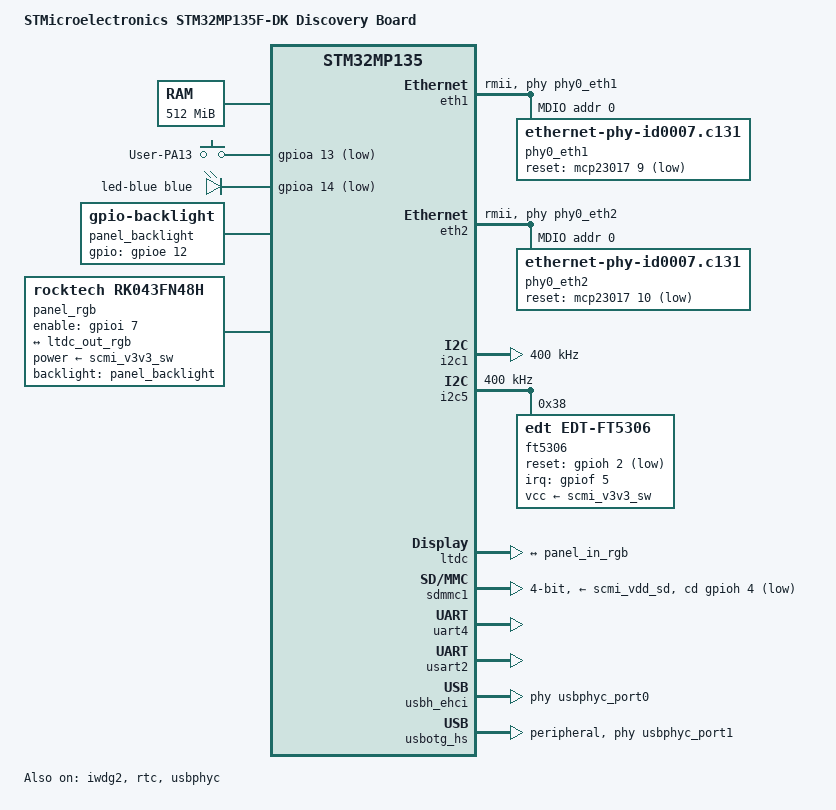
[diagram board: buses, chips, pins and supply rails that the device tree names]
// SPDX-License-Identifier: (GPL-2.0+ OR BSD-3-Clause)
/*
 * Copyright (C) STMicroelectronics 2021 - All Rights Reserved
 * Author: Alexandre Torgue <alexandre.torgue@foss.st.com> for STMicroelectronics.
 */

/dts-v1/;

#include <dt-bindings/gpio/gpio.h>
#include <dt-bindings/input/input.h>
#include <dt-bindings/leds/common.h>
#include <dt-bindings/rtc/rtc-stm32.h>
#include "stm32mp135.dtsi"
#include "stm32mp13xf.dtsi"
#include "stm32mp13-pinctrl.dtsi"

/ {
	model = "STMicroelectronics STM32MP135F-DK Discovery Board";
	compatible = "st,stm32mp135f-dk", "st,stm32mp135";

	aliases {
		ethernet0 = &eth1;
		ethernet1 = &eth2;
		serial0 = &uart4;
		serial1 = &usart1;
		serial2 = &uart8;
		serial3 = &usart2;
	};

	chosen {
		stdout-path = "serial0:115200n8";
	};

	memory@c0000000 {
		device_type = "memory";
		reg = <0xc0000000 0x20000000>;
	};

	gpio-keys {
		compatible = "gpio-keys";

		user-pa13 {
			label = "User-PA13";
			linux,code = <BTN_1>;
			gpios = <&gpioa 13 (GPIO_ACTIVE_LOW | GPIO_PULL_UP)>;
			wakeup-source;
		};
	};

	leds {
		compatible = "gpio-leds";

		led-blue {
			function = LED_FUNCTION_HEARTBEAT;
			color = <LED_COLOR_ID_BLUE>;
			gpios = <&gpioa 14 GPIO_ACTIVE_LOW>;
			linux,default-trigger = "heartbeat";
			default-state = "off";
		};
	};

	panel_backlight: panel-backlight {
		compatible = "gpio-backlight";
		gpios = <&gpioe 12 GPIO_ACTIVE_HIGH>;
		default-on;
		default-brightness-level = <0>;
		status = "okay";
	};

	panel_rgb: panel-rgb {
		compatible = "rocktech,rk043fn48h";
		enable-gpios = <&gpioi 7 GPIO_ACTIVE_HIGH>;
		backlight = <&panel_backlight>;
		power-supply = <&scmi_v3v3_sw>;
		status = "okay";
		port {
			panel_in_rgb: endpoint {
				remote-endpoint = <&ltdc_out_rgb>;
			};
		};
	};

	usb_phy_tuning: usb-phy-tuning {
		st,current-boost = <1>;
		st,hs-slew-ctrl;
		st,hs-dc-level = <2>;
		st,hs-rftime-reduction;
		st,hs-current-trim = <11>;
		st,hs-impedance-trim = <2>;
		st,squelch-level = <1>;
		st,hs-rx-gain-eq;
		st,no-hs-ftime-ctrl;
		st,no-lsfs-sc;
	};
};

&adc_1 {
	pinctrl-names = "default";
	pinctrl-0 = <&adc1_usb_cc_pins_a>;
	vdda-supply = <&scmi_vdd_adc>;
	vref-supply = <&scmi_vdd_adc>;
	status = "disabled";
	adc1: adc@0 {
		/*
		 * Type-C USB_PWR_CC1 & USB_PWR_CC2 on in6 & in12.
		 * Use at least 5 * RC time, e.g. 5 * (Rp + Rd) * C:
		 * 5 * (5.1 + 47kOhms) * 5pF => 1.3us.
		 * Use arbitrary margin here (e.g. 5us).
		 */
		st,min-sample-time-nsecs = <5000>;
		/* USB Type-C CC1 & CC2 */
		st,adc-channels = <6 12>;
		status = "okay";
	};
};

&dma1 {
	sram = <&dma_pool>;
};

&dma2 {
	sram = <&dma_pool>;
};

&eth1 {
	status = "okay";
	pinctrl-0 = <&eth1_rmii_pins_a>;
	pinctrl-names = "default";
	phy-mode = "rmii";
	max-speed = <100>;
	phy-handle = <&phy0_eth1>;
	nvmem-cells = <&ethernet_mac1_address>;
	nvmem-cell-names = "mac-address";

	mdio1 {
		#address-cells = <1>;
		#size-cells = <0>;
		compatible = "snps,dwmac-mdio";

		phy0_eth1: ethernet-phy@0 {
			compatible = "ethernet-phy-id0007.c131";
			reset-gpios =  <&mcp23017 9 GPIO_ACTIVE_LOW>;
			reg = <0>;
		};
	};
};

&eth2 {
	status = "okay";
	pinctrl-0 = <&eth2_rmii_pins_a>;
	pinctrl-names = "default";
	phy-mode = "rmii";
	max-speed = <100>;
	phy-handle = <&phy0_eth2>;
	st,ext-phyclk;
	nvmem-cells = <&ethernet_mac2_address>;
	nvmem-cell-names = "mac-address";

	mdio1 {
		#address-cells = <1>;
		#size-cells = <0>;
		compatible = "snps,dwmac-mdio";
		phy0_eth2: ethernet-phy@0 {
			compatible = "ethernet-phy-id0007.c131";
			reset-gpios = <&mcp23017 10 GPIO_ACTIVE_LOW>;
			reg = <0>;
		};
	};
};

&i2c1 {
	pinctrl-names = "default", "sleep";
	pinctrl-0 = <&i2c1_pins_a>;
	pinctrl-1 = <&i2c1_sleep_pins_a>;
	i2c-scl-rising-time-ns = <300>;
	i2c-scl-falling-time-ns = <300>;
	clock-frequency = <400000>;
	status = "okay";
	/* spare dmas for other usage */
	/delete-property/dmas;
	/delete-property/dma-names;

	mcp23017: pinctrl@21 {
		compatible = "microchip,mcp23017";
		reg = <0x21>;
		gpio-controller;
		#gpio-cells = <2>;
		interrupts = <12 IRQ_TYPE_LEVEL_LOW>;
		interrupt-parent = <&gpiog>;
		pinctrl-names = "default";
		pinctrl-0 = <&mcp23017_pins_a>;
		interrupt-controller;
		#interrupt-cells = <2>;
		microchip,irq-mirror;
	};
};

&i2c5 {
	pinctrl-names = "default", "sleep";
	pinctrl-0 = <&i2c5_pins_a>;
	pinctrl-1 = <&i2c5_sleep_pins_a>;
	i2c-scl-rising-time-ns = <185>;
	i2c-scl-falling-time-ns = <20>;
	clock-frequency = <400000>;
	status = "okay";
	/* spare dmas for other usage */
	/delete-property/dmas;
	/delete-property/dma-names;

	ft5306: ft5306_ts@38 {
		compatible = "edt,edt-ft5306";
		reg = <0x38>;
		interrupt-parent = <&gpiof>;
		interrupts = <5 IRQ_TYPE_EDGE_FALLING>;
	        reset-gpios = <&gpioh 2 GPIO_ACTIVE_LOW>;
	        vcc-supply = <&scmi_v3v3_sw>;
		touchscreen-size-x = <480>;
		touchscreen-size-y = <272>;
		status = "okay" ;
	};
};

&iwdg2 {
	timeout-sec = <32>;
	status = "okay";
};

&ltdc {
	pinctrl-names = "default", "sleep";
	pinctrl-0 = <&ltdc_pins_a>;
	pinctrl-1 = <&ltdc_sleep_pins_a>;
	status = "okay";

	port {
		#address-cells = <1>;
		#size-cells = <0>;

		ltdc_out_rgb: endpoint@0 {
			reg = <0>;
			remote-endpoint = <&panel_in_rgb>;
		};
	};
};

&rtc {
	st,lsco = <RTC_OUT2_RMP>;
	pinctrl-0 = <&rtc_out2_rmp_pins_a>;
	pinctrl-names = "default";
	status = "okay";
};

&scmi0_regu {
	scmi_vddcpu: voltd-vddcpu {
		voltd-name = "vddcpu";
		regulator-name = "vddcpu";
	};
	scmi_vdd: voltd-vdd {
		voltd-name = "vdd";
		regulator-name = "vdd";
	};
	scmi_vddcore: voltd-vddcore {
		voltd-name = "vddcore";
		regulator-name = "vddcore";
	};
	scmi_vdd_adc: voltd-vdd_adc {
		voltd-name = "vdd_adc";
		regulator-name = "vdd_adc";
	};
	scmi_vdd_usb: voltd-vdd_usb {
		voltd-name = "vdd_usb";
		regulator-name = "vdd_usb";
	};
	scmi_vdd_sd: voltd-vdd_sd {
		voltd-name = "vdd_sd";
		regulator-name = "vdd_sd";
	};
	scmi_v1v8_periph: voltd-v1v8_periph {
		voltd-name = "v1v8_periph";
		regulator-name = "v1v8_periph";
	};
	scmi_v3v3_sw: voltd-v3v3_sw {
		voltd-name = "v3v3_sw";
		regulator-name = "v3v3_sw";
	};
};

&sdmmc1 {
	pinctrl-names = "default", "opendrain", "sleep";
	pinctrl-0 = <&sdmmc1_b4_pins_a &sdmmc1_clk_pins_a>;
	pinctrl-1 = <&sdmmc1_b4_od_pins_a &sdmmc1_clk_pins_a>;
	pinctrl-2 = <&sdmmc1_b4_sleep_pins_a>;
	cd-gpios = <&gpioh 4 (GPIO_ACTIVE_LOW | GPIO_PULL_UP)>;
	disable-wp;
	st,neg-edge;
	bus-width = <4>;
	vmmc-supply = <&scmi_vdd_sd>;
	status = "okay";
};

&spi5 {
	pinctrl-names = "default", "sleep";
	pinctrl-0 = <&spi5_pins_a>;
	pinctrl-1 = <&spi5_sleep_pins_a>;
	status = "disabled";
};

&sram {
	dma_pool: dma-sram@0 {
		reg = <0x0 0x4000>;
		pool;
	};
};

&timers3 {
	/delete-property/dmas;
	/delete-property/dma-names;
	status = "disabled";
	pwm {
		pinctrl-0 = <&pwm3_pins_a>;
		pinctrl-1 = <&pwm3_sleep_pins_a>;
		pinctrl-names = "default", "sleep";
		status = "okay";
	};
	timer@2 {
		status = "okay";
	};
};

&timers4 {
	/delete-property/dmas;
	/delete-property/dma-names;
	status = "disabled";
	pwm {
		pinctrl-0 = <&pwm4_pins_a>;
		pinctrl-1 = <&pwm4_sleep_pins_a>;
		pinctrl-names = "default", "sleep";
		status = "okay";
	};
	timer@3 {
		status = "okay";
	};
};

&timers8 {
	/delete-property/dmas;
	/delete-property/dma-names;
	status = "disabled";
	pwm {
		pinctrl-0 = <&pwm8_pins_a>;
		pinctrl-1 = <&pwm8_sleep_pins_a>;
		pinctrl-names = "default", "sleep";
		status = "okay";
	};
	timer@7 {
		status = "okay";
	};
};

&timers14 {
	status = "disabled";
	pwm {
		pinctrl-0 = <&pwm14_pins_a>;
		pinctrl-1 = <&pwm14_sleep_pins_a>;
		pinctrl-names = "default", "sleep";
		status = "okay";
	};
	timer@13 {
		status = "okay";
	};
};

&uart4 {
	pinctrl-names = "default", "sleep", "idle";
	pinctrl-0 = <&uart4_pins_a>;
	pinctrl-1 = <&uart4_sleep_pins_a>;
	pinctrl-2 = <&uart4_idle_pins_a>;
	/delete-property/dmas;
	/delete-property/dma-names;
	status = "okay";
};

&uart8 {
	pinctrl-names = "default", "sleep", "idle";
	pinctrl-0 = <&uart8_pins_a>;
	pinctrl-1 = <&uart8_sleep_pins_a>;
	pinctrl-2 = <&uart8_idle_pins_a>;
	status = "disabled";
};

&usart1 {
	pinctrl-names = "default", "sleep", "idle";
	pinctrl-0 = <&usart1_pins_a>;
	pinctrl-1 = <&usart1_sleep_pins_a>;
	pinctrl-2 = <&usart1_idle_pins_a>;
	uart-has-rtscts;
	status = "disabled";
};

/* Bluetooth & Wifi */
&usart2 {
	pinctrl-names = "default", "sleep", "idle";
	pinctrl-0 = <&usart2_pins_a>;
	pinctrl-1 = <&usart2_sleep_pins_a>;
	pinctrl-2 = <&usart2_idle_pins_a>;
	uart-has-rtscts;
	status = "okay";
};

&usbh_ehci {
	phys = <&usbphyc_port0>;
	status = "okay";
};

&usbotg_hs {
	phys = <&usbphyc_port1 0>;
	phy-names = "usb2-phy";
	dr_mode = "peripheral";
	usb-role-switch;
	role-switch-default-mode = "peripheral";
	status = "okay";
};

&usbphyc {
	status = "okay";
};

&usbphyc_port0 {
	phy-supply = <&scmi_vdd_usb>;
	st,phy-tuning = <&usb_phy_tuning>;
};

&usbphyc_port1 {
	phy-supply = <&scmi_vdd_usb>;
	st,phy-tuning = <&usb_phy_tuning>;
};
